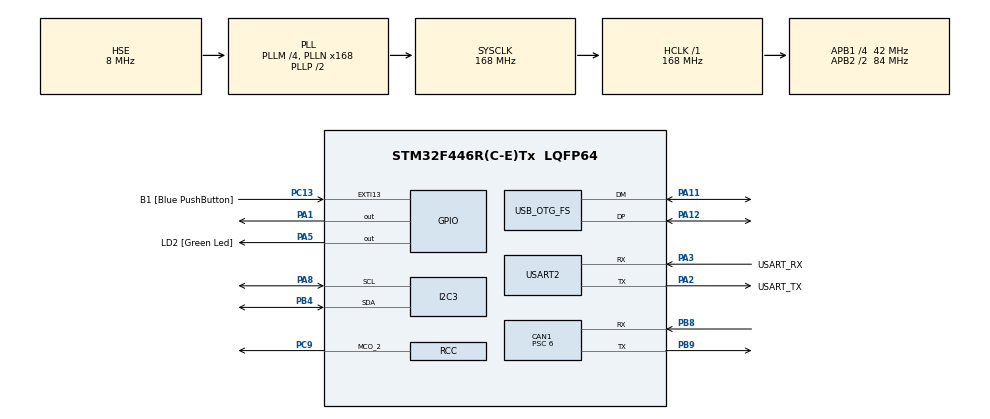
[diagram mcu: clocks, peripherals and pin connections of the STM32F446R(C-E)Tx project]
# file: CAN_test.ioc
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CAN1.BS1=CAN_BS1_11TQ
CAN1.BS2=CAN_BS2_2TQ
CAN1.CalculateBaudRate=500000
CAN1.CalculateTimeBit=2000
CAN1.CalculateTimeQuantum=142.85714285714286
CAN1.Prescaler=6
Dma.I2C3_RX.0.Direction=DMA_PERIPH_TO_MEMORY
Dma.I2C3_RX.0.FIFOMode=DMA_FIFOMODE_DISABLE
Dma.I2C3_RX.0.Instance=DMA1_Stream2
Dma.I2C3_RX.0.MemDataAlignment=DMA_MDATAALIGN_BYTE
Dma.I2C3_RX.0.MemInc=DMA_MINC_ENABLE
Dma.I2C3_RX.0.Mode=DMA_NORMAL
Dma.I2C3_RX.0.PeriphDataAlignment=DMA_PDATAALIGN_BYTE
Dma.I2C3_RX.0.PeriphInc=DMA_PINC_DISABLE
Dma.I2C3_RX.0.Priority=DMA_PRIORITY_HIGH
Dma.Request0=I2C3_RX
I2C3.I2C_Mode=I2C_Fast
Mcu.Family=STM32F4
Mcu.Name=STM32F446R(C-E)Tx
Mcu.Package=LQFP64
NVIC.DMA1_Stream2_IRQn=true\:0\:5\:true\:false\:true\:false\:true\:true
NVIC.I2C3_ER_IRQn=true\:0\:5\:false\:false\:true\:true\:true\:true
NVIC.I2C3_EV_IRQn=true\:0\:5\:true\:false\:true\:true\:true\:true
NVIC.PriorityGroup=NVIC_PRIORITYGROUP_0
NVIC.TIM1_UP_TIM10_IRQn=true\:0\:0\:false\:false\:true\:true\:true\:true
PA1.Signal=GPIO_Output
PA11.Mode=Device_Only
PA11.Signal=USB_OTG_FS_DM
PA12.Mode=Device_Only
PA12.Signal=USB_OTG_FS_DP
PA13.GPIO_Label=TMS
PA13.Mode=Trace_Asynchronous_SW
PA13.Signal=SYS_JTMS-SWDIO
PA14.GPIO_Label=TCK
PA14.Mode=Trace_Asynchronous_SW
PA14.Signal=SYS_JTCK-SWCLK
PA2.GPIO_Label=USART_TX
PA2.Mode=Asynchronous
PA2.Signal=USART2_TX
PA3.GPIO_Label=USART_RX
PA3.Mode=Asynchronous
PA3.Signal=USART2_RX
PA5.GPIO_Label=LD2 [Green Led]
PA5.Signal=GPIO_Output
PA8.Mode=I2C
PA8.Signal=I2C3_SCL
PB3.GPIO_Label=SWO
PB3.Mode=Trace_Asynchronous_SW
PB3.Signal=SYS_JTDO-SWO
PB4.Mode=I2C
PB4.Signal=I2C3_SDA
PB8.Mode=CAN_Activate
PB8.Signal=CAN1_RX
PB9.Mode=CAN_Activate
PB9.Signal=CAN1_TX
PC13.GPIO_Label=B1 [Blue PushButton]
PC13.GPIO_ModeDefaultEXTI=GPIO_MODE_IT_FALLING
PC13.Signal=GPXTI13
PC14-OSC32_IN.Mode=LSE-External-Oscillator
PC14-OSC32_IN.Signal=RCC_OSC32_IN
PC15-OSC32_OUT.Mode=LSE-External-Oscillator
PC15-OSC32_OUT.Signal=RCC_OSC32_OUT
PC9.Mode=Clock-out-2
PC9.Signal=RCC_MCO_2
PH0-OSC_IN.Mode=HSE-External-Oscillator
PH0-OSC_IN.Signal=RCC_OSC_IN
PH1-OSC_OUT.Mode=HSE-External-Oscillator
PH1-OSC_OUT.Signal=RCC_OSC_OUT
ProjectManager.HeapSize=0x200
ProjectManager.StackSize=0x400
ProjectManager.TargetToolchain=STM32CubeIDE
RCC.48MHZClocksFreq_Value=84000000
RCC.AHBFreq_Value=168000000
RCC.APB1CLKDivider=RCC_HCLK_DIV4
RCC.APB1Freq_Value=42000000
RCC.APB1TimFreq_Value=84000000
RCC.APB2CLKDivider=RCC_HCLK_DIV2
RCC.APB2Freq_Value=84000000
RCC.APB2TimFreq_Value=168000000
RCC.CortexFreq_Value=168000000
RCC.FLatency-AdvancedSettings=FLASH_LATENCY_5
RCC.HCLKFreq_Value=168000000
RCC.HSE_VALUE=8000000
RCC.HSI_VALUE=16000000
RCC.PLLM=4
RCC.PLLN=168
RCC.PLLQ=7
RCC.PLLSourceVirtual=RCC_PLLSOURCE_HSE
RCC.RCC_MCO2Source=RCC_MCO2SOURCE_HSE
RCC.SYSCLKFreq_VALUE=168000000
RCC.SYSCLKSource=RCC_SYSCLKSOURCE_PLLCLK
RCC.USBFreq_Value=48000000
RCC.VCOOutputFreq_Value=336000000
TIM10.Period=1000-1
TIM10.Prescaler=168-1
TIM11.Prescaler=16800-1
USART2.VirtualMode=VM_ASYNC
USB_OTG_FS.VirtualMode=Device_Only
VP_TIM10_VS_ClockSourceINT.Mode=Enable_Timer
VP_TIM11_VS_ClockSourceINT.Mode=Enable_Timer
board=NUCLEO-F446RE

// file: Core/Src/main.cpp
/* USER CODE BEGIN Header */
/**
  ******************************************************************************
  * @file           : main.c
  * @brief          : Main program body
  ******************************************************************************
  * @attention
  *
  * Copyright (c) 2026 STMicroelectronics.
  * All rights reserved.
  *
  * This software is licensed under terms that can be found in the LICENSE file
  * in the root directory of this software component.
  * If no LICENSE file comes with this software, it is provided AS-IS.
  *
  ******************************************************************************
  */
/* USER CODE END Header */
#include "main.h"

/* USER CODE BEGIN Includes */

#include <stdio.h> // For printf

#include <math.h> // For sin/cos

#include "ODrive/ODriveCAN.h" // ODrive library

#include "ODrive_CubeIDE_glue.h" // Our new glue code

#include "ICM20602.h"

#include <string.h>

/* USER CODE END Includes */

/* USER CODE BEGIN PTD */

struct ODriveUserData {

Heartbeat_msg_t last_heartbeat;

bool received_heartbeat = false;

Get_Encoder_Estimates_msg_t last_feedback;

bool received_feedback = false;

};

/* USER CODE END PTD */

/* USER CODE BEGIN PD */

#define ODRV0_NODE_ID 0

#define TWO_PI (6.283185307179586f)

/* USER CODE END PD */

CAN_HandleTypeDef hcan1;

I2C_HandleTypeDef hi2c3;
DMA_HandleTypeDef hdma_i2c3_rx;

PCD_HandleTypeDef hpcd_USB_OTG_FS;

/* USER CODE BEGIN PV */
//-------------------------------------------ICM---------------------------------
extern volatile uint8_t  dma_in_progress;

CompFilter filter;
//recieve_msg recieved_msg;
//Mahony_t myIMU;
float motor_position = 0;
float error_position = 0;
int8_t reference_angle = 0;
volatile uint8_t dma_done = 0;
volatile uint8_t imu_request = 0;
static uint8_t send_pos = 0;
extern volatile uint8_t i2c_need_recovery;
uint8_t static position_enable = 1;
uint8_t running = 0;
uint32_t value = 0;
uint8_t send_data = 0;
extern volatile float gyro_y;
extern volatile float deg_XZ;

float test_angle_gyro = 0;

extern volatile uint8_t  dma_in_progress;
extern volatile uint8_t i2c_need_recovery;

volatile float Kp = 0.0f;  //0.00005f Tah k horizontu (Začněte od nuly a ladit!)
volatile float Ki = 0.0f;  // Vyrovnání trvalé chyby
volatile float Kd = 0.0f; //0.0001 Tlumení vibrací (Začněte ladit tímto!)

float integral_error = 0.0f;
float max_torque = 0.3f;   // Limit momentu v Nm
float required_torque;
float target_angle = 0.0f;
static float torque_filtered = 0;
static float smoothed_velocity = 0.0f;

Get_Encoder_Estimates_msg_t feedback;
//-------------------------------------------ICM---------------------------------

CubeCANInterface can_intf = {&hcan1}; // Our glue struct holding the HAL handle

ODriveCanIntfWrapper can_wrapper = wrap_can_intf(can_intf); // The ODrive wrapper

ODriveCAN odrv0(can_wrapper, ODRV0_NODE_ID); // The main ODrive object

// --- User Data ---

ODriveUserData odrv0_user_data;

/* USER CODE END PV */

#ifdef __cplusplus
extern "C" {
#endif
void SystemClock_Config(void);
#ifdef __cplusplus
}
#endif
static void MX_GPIO_Init(void);
static void MX_DMA_Init(void);
static void MX_USART2_UART_Init(void);
static void MX_USB_OTG_FS_PCD_Init(void);
static void MX_TIM10_Init(void);
static void MX_I2C3_Init(void);
static void MX_TIM11_Init(void);
static void MX_CAN1_Init(void);
/* USER CODE BEGIN PFP */

void onHeartbeat(Heartbeat_msg_t& msg, void* user_data) {

ODriveUserData* odrv_user_data = static_cast<ODriveUserData*>(user_data);

odrv_user_data->last_heartbeat = msg;

odrv_user_data->received_heartbeat = true;

}

// Called every time a feedback message arrives

void onFeedback(Get_Encoder_Estimates_msg_t& msg, void* user_data) {

ODriveUserData* odrv_user_data = static_cast<ODriveUserData*>(user_data);

odrv_user_data->last_feedback = msg;

odrv_user_data->received_feedback = true;

}

/* USER CODE END PFP */

int main(void)
{

  /* MCU Configuration--------------------------------------------------------*/

  /* Reset of all peripherals, Initializes the Flash interface and the Systick. */
  HAL_Init();

  /* Configure the system clock */
  SystemClock_Config();

  /* Initialize all configured peripherals */
  MX_GPIO_Init();
  MX_DMA_Init();
  MX_USART2_UART_Init();
  MX_USB_OTG_FS_PCD_Init();
  MX_TIM10_Init();
  MX_I2C3_Init();
  MX_TIM11_Init();
  MX_CAN1_Init();
  /* USER CODE BEGIN 2 */

  ICM20602_Init();
  CF_Init(&filter, 0);

//printf("Starting ODriveCAN (SWV) for Nucleo-F446RE...\r\n");

//printf("SYSCLK: %ld Hz, APB1: %ld Hz\r\n", HAL_RCC_GetSysClockFreq(), HAL_RCC_GetPCLK1Freq());

odrv0.onFeedback(onFeedback, &odrv0_user_data);

odrv0.onStatus(onHeartbeat, &odrv0_user_data);

// --- Configure CAN Filter ---

// This is CRITICAL for receiving any messages

CAN_FilterTypeDef sFilterConfig;

sFilterConfig.FilterBank = 0;

sFilterConfig.FilterMode = CAN_FILTERMODE_IDMASK;

sFilterConfig.FilterScale = CAN_FILTERSCALE_32BIT;

sFilterConfig.FilterIdHigh = 0x0000;

sFilterConfig.FilterIdLow = 0x0000;

sFilterConfig.FilterMaskIdHigh = 0x0000;

sFilterConfig.FilterMaskIdLow = 0x0000; // Accept all messages

sFilterConfig.FilterFIFOAssignment = CAN_RX_FIFO0;

sFilterConfig.FilterActivation = ENABLE;

if (HAL_CAN_ConfigFilter(&hcan1, &sFilterConfig) != HAL_OK) {

//printf("Error: CAN Filter Config Failed\r\n");

Error_Handler();

}

// --- Start CAN Peripheral ---

if (HAL_CAN_Start(&hcan1) != HAL_OK) {

//printf("Error: HAL_CAN_Start Failed\r\n");

Error_Handler();

}
/*

// --- Wait for ODrive ---

//printf("Waiting for ODrive...\r\n");

while (!odrv0_user_data.received_heartbeat) {

pumpEvents(can_intf); // Check for messages

HAL_Delay(100); // Wait 100ms

}

//printf("Found ODrive!\r\n");

// --- Request Bus Voltage ---

//printf("Attempting to read bus voltage and current...\r\n");

 *
Get_Bus_Voltage_Current_msg_t vbus;

if (!odrv0.request(vbus, 1000)) {

//printf("VBus request failed!\r\n");

Error_Handler();

}

odrv0.setControllerMode(3, 1);

// --- Set Closed Loop Control ---

//printf("Enabling closed loop control...\r\n");

while (odrv0_user_data.last_heartbeat.Axis_State != ODriveAxisState::AXIS_STATE_CLOSED_LOOP_CONTROL) {

odrv0.clearErrors();

HAL_Delay(1);

odrv0.setState(ODriveAxisState::AXIS_STATE_CLOSED_LOOP_CONTROL);

// Wait 150ms for state to take effect

for (int i = 0; i < 15; ++i) {

HAL_Delay(10);

pumpEvents(can_intf); // Keep checking for heartbeats

}

}
 */

//printf("ODrive running!\r\n");

  LL_TIM_SetCounter(TIM10, 0);
  LL_TIM_EnableIT_UPDATE(TIM10);
  LL_TIM_EnableCounter(TIM10);

  LL_TIM_SetCounter(TIM11, 0);
  LL_TIM_EnableCounter(TIM11);

  Read_data();

  /* USER CODE END 2 */

  /* Infinite loop */
while (1)
{

    /* USER CODE BEGIN 3 */

	        // 4. Kontrola, zda se I2C neseklo (vaše funkce)
	        I2C_WatchdogCheck();

			pumpEvents(can_intf);

	/*

float SINE_PERIOD = 2.0f; // Period in seconds

float t = 0.001f * HAL_GetTick(); // Time in seconds

float phase = t * (TWO_PI / SINE_PERIOD);

// Send the position command

odrv0.setPosition(

sin(phase), // position (in turns)

cos(phase) * (TWO_PI / SINE_PERIOD), // velocity feedforward (in turns/sec)

0);
	 */

}

  /* USER CODE END 3 */
}

void SystemClock_Config(void)
{
  RCC_OscInitTypeDef RCC_OscInitStruct = {0};
  RCC_ClkInitTypeDef RCC_ClkInitStruct = {0};

  /** Configure the main internal regulator output voltage
  */
  __HAL_RCC_PWR_CLK_ENABLE();
  __HAL_PWR_VOLTAGESCALING_CONFIG(PWR_REGULATOR_VOLTAGE_SCALE1);

  /** Initializes the RCC Oscillators according to the specified parameters
  * in the RCC_OscInitTypeDef structure.
  */
  RCC_OscInitStruct.OscillatorType = RCC_OSCILLATORTYPE_HSE;
  RCC_OscInitStruct.HSEState = RCC_HSE_ON;
  RCC_OscInitStruct.PLL.PLLState = RCC_PLL_ON;
  RCC_OscInitStruct.PLL.PLLSource = RCC_PLLSOURCE_HSE;
  RCC_OscInitStruct.PLL.PLLM = 4;
  RCC_OscInitStruct.PLL.PLLN = 168;
  RCC_OscInitStruct.PLL.PLLP = RCC_PLLP_DIV2;
  RCC_OscInitStruct.PLL.PLLQ = 7;
  RCC_OscInitStruct.PLL.PLLR = 2;
  if (HAL_RCC_OscConfig(&RCC_OscInitStruct) != HAL_OK)
  {
    Error_Handler();
  }

  /** Initializes the CPU, AHB and APB buses clocks
  */
  RCC_ClkInitStruct.ClockType = RCC_CLOCKTYPE_HCLK|RCC_CLOCKTYPE_SYSCLK
                              |RCC_CLOCKTYPE_PCLK1|RCC_CLOCKTYPE_PCLK2;
  RCC_ClkInitStruct.SYSCLKSource = RCC_SYSCLKSOURCE_PLLCLK;
  RCC_ClkInitStruct.AHBCLKDivider = RCC_SYSCLK_DIV1;
  RCC_ClkInitStruct.APB1CLKDivider = RCC_HCLK_DIV4;
  RCC_ClkInitStruct.APB2CLKDivider = RCC_HCLK_DIV2;

  if (HAL_RCC_ClockConfig(&RCC_ClkInitStruct, FLASH_LATENCY_5) != HAL_OK)
  {
    Error_Handler();
  }
  HAL_RCC_MCOConfig(RCC_MCO2, RCC_MCO2SOURCE_HSE, RCC_MCODIV_1);
}

static void MX_CAN1_Init(void)
{

  hcan1.Instance = CAN1;
  hcan1.Init.Prescaler = 6;
  hcan1.Init.Mode = CAN_MODE_NORMAL;
  hcan1.Init.SyncJumpWidth = CAN_SJW_1TQ;
  hcan1.Init.TimeSeg1 = CAN_BS1_11TQ;
  hcan1.Init.TimeSeg2 = CAN_BS2_2TQ;
  hcan1.Init.TimeTriggeredMode = DISABLE;
  hcan1.Init.AutoBusOff = DISABLE;
  hcan1.Init.AutoWakeUp = DISABLE;
  hcan1.Init.AutoRetransmission = DISABLE;
  hcan1.Init.ReceiveFifoLocked = DISABLE;
  hcan1.Init.TransmitFifoPriority = DISABLE;
  if (HAL_CAN_Init(&hcan1) != HAL_OK)
  {
    Error_Handler();
  }

}

static void MX_I2C3_Init(void)
{

  hi2c3.Instance = I2C3;
  hi2c3.Init.ClockSpeed = 400000;
  hi2c3.Init.DutyCycle = I2C_DUTYCYCLE_2;
  hi2c3.Init.OwnAddress1 = 0;
  hi2c3.Init.AddressingMode = I2C_ADDRESSINGMODE_7BIT;
  hi2c3.Init.DualAddressMode = I2C_DUALADDRESS_DISABLE;
  hi2c3.Init.OwnAddress2 = 0;
  hi2c3.Init.GeneralCallMode = I2C_GENERALCALL_DISABLE;
  hi2c3.Init.NoStretchMode = I2C_NOSTRETCH_DISABLE;
  if (HAL_I2C_Init(&hi2c3) != HAL_OK)
  {
    Error_Handler();
  }

}

static void MX_TIM10_Init(void)
{

  LL_TIM_InitTypeDef TIM_InitStruct = {0};

  /* Peripheral clock enable */
  LL_APB2_GRP1_EnableClock(LL_APB2_GRP1_PERIPH_TIM10);

  /* TIM10 interrupt Init */
  NVIC_SetPriority(TIM1_UP_TIM10_IRQn, NVIC_EncodePriority(NVIC_GetPriorityGrouping(),0, 0));
  NVIC_EnableIRQ(TIM1_UP_TIM10_IRQn);

  TIM_InitStruct.Prescaler = 167;
  TIM_InitStruct.CounterMode = LL_TIM_COUNTERMODE_UP;
  TIM_InitStruct.Autoreload = 1000-LL_TIM_IC_FILTER_FDIV1_N2;
  TIM_InitStruct.ClockDivision = LL_TIM_CLOCKDIVISION_DIV1;
  LL_TIM_Init(TIM10, &TIM_InitStruct);
  LL_TIM_DisableARRPreload(TIM10);

}

static void MX_TIM11_Init(void)
{

  LL_TIM_InitTypeDef TIM_InitStruct = {0};

  /* Peripheral clock enable */
  LL_APB2_GRP1_EnableClock(LL_APB2_GRP1_PERIPH_TIM11);

  TIM_InitStruct.Prescaler = 16799;
  TIM_InitStruct.CounterMode = LL_TIM_COUNTERMODE_UP;
  TIM_InitStruct.Autoreload = 65535;
  TIM_InitStruct.ClockDivision = LL_TIM_CLOCKDIVISION_DIV1;
  LL_TIM_Init(TIM11, &TIM_InitStruct);
  LL_TIM_DisableARRPreload(TIM11);

}

static void MX_USART2_UART_Init(void)
{

  LL_USART_InitTypeDef USART_InitStruct = {0};

  LL_GPIO_InitTypeDef GPIO_InitStruct = {0};

  /* Peripheral clock enable */
  LL_APB1_GRP1_EnableClock(LL_APB1_GRP1_PERIPH_USART2);

  LL_AHB1_GRP1_EnableClock(LL_AHB1_GRP1_PERIPH_GPIOA);
  /**USART2 GPIO Configuration
  PA2   ------> USART2_TX
  PA3   ------> USART2_RX
  */
  GPIO_InitStruct.Pin = LL_GPIO_PIN_2|LL_GPIO_PIN_3;
  GPIO_InitStruct.Mode = LL_GPIO_MODE_ALTERNATE;
  GPIO_InitStruct.Speed = LL_GPIO_SPEED_FREQ_VERY_HIGH;
  GPIO_InitStruct.OutputType = LL_GPIO_OUTPUT_PUSHPULL;
  GPIO_InitStruct.Pull = LL_GPIO_PULL_NO;
  GPIO_InitStruct.Alternate = LL_GPIO_AF_7;
  LL_GPIO_Init(GPIOA, &GPIO_InitStruct);

  USART_InitStruct.BaudRate = 115200;
  USART_InitStruct.DataWidth = LL_USART_DATAWIDTH_8B;
  USART_InitStruct.StopBits = LL_USART_STOPBITS_1;
  USART_InitStruct.Parity = LL_USART_PARITY_NONE;
  USART_InitStruct.TransferDirection = LL_USART_DIRECTION_TX_RX;
  USART_InitStruct.HardwareFlowControl = LL_USART_HWCONTROL_NONE;
  USART_InitStruct.OverSampling = LL_USART_OVERSAMPLING_16;
  LL_USART_Init(USART2, &USART_InitStruct);
  LL_USART_ConfigAsyncMode(USART2);
  LL_USART_Enable(USART2);

}

static void MX_USB_OTG_FS_PCD_Init(void)
{

  hpcd_USB_OTG_FS.Instance = USB_OTG_FS;
  hpcd_USB_OTG_FS.Init.dev_endpoints = 6;
  hpcd_USB_OTG_FS.Init.speed = PCD_SPEED_FULL;
  hpcd_USB_OTG_FS.Init.dma_enable = DISABLE;
  hpcd_USB_OTG_FS.Init.phy_itface = PCD_PHY_EMBEDDED;
  hpcd_USB_OTG_FS.Init.Sof_enable = DISABLE;
  hpcd_USB_OTG_FS.Init.low_power_enable = DISABLE;
  hpcd_USB_OTG_FS.Init.lpm_enable = DISABLE;
  hpcd_USB_OTG_FS.Init.vbus_sensing_enable = DISABLE;
  hpcd_USB_OTG_FS.Init.use_dedicated_ep1 = DISABLE;
  if (HAL_PCD_Init(&hpcd_USB_OTG_FS) != HAL_OK)
  {
    Error_Handler();
  }

}

static void MX_DMA_Init(void)
{

  /* DMA controller clock enable */
  __HAL_RCC_DMA1_CLK_ENABLE();

  /* DMA interrupt init */
  /* DMA1_Stream2_IRQn interrupt configuration */
  HAL_NVIC_SetPriority(DMA1_Stream2_IRQn, 0, 5);
  HAL_NVIC_EnableIRQ(DMA1_Stream2_IRQn);

}

static void MX_GPIO_Init(void)
{
  GPIO_InitTypeDef GPIO_InitStruct = {0};

  /* GPIO Ports Clock Enable */
  __HAL_RCC_GPIOC_CLK_ENABLE();
  __HAL_RCC_GPIOH_CLK_ENABLE();
  __HAL_RCC_GPIOA_CLK_ENABLE();
  __HAL_RCC_GPIOB_CLK_ENABLE();

  /*Configure GPIO pin Output Level */
  HAL_GPIO_WritePin(GPIOA, GPIO_PIN_1|LD2_Pin, GPIO_PIN_RESET);

  /*Configure GPIO pin : B1_Pin */
  GPIO_InitStruct.Pin = B1_Pin;
  GPIO_InitStruct.Mode = GPIO_MODE_IT_FALLING;
  GPIO_InitStruct.Pull = GPIO_NOPULL;
  HAL_GPIO_Init(B1_GPIO_Port, &GPIO_InitStruct);

  /*Configure GPIO pins : PA1 LD2_Pin */
  GPIO_InitStruct.Pin = GPIO_PIN_1|LD2_Pin;
  GPIO_InitStruct.Mode = GPIO_MODE_OUTPUT_PP;
  GPIO_InitStruct.Pull = GPIO_NOPULL;
  GPIO_InitStruct.Speed = GPIO_SPEED_FREQ_LOW;
  HAL_GPIO_Init(GPIOA, &GPIO_InitStruct);

  /*Configure GPIO pin : PC9 */
  GPIO_InitStruct.Pin = GPIO_PIN_9;
  GPIO_InitStruct.Mode = GPIO_MODE_AF_PP;
  GPIO_InitStruct.Pull = GPIO_NOPULL;
  GPIO_InitStruct.Speed = GPIO_SPEED_FREQ_LOW;
  GPIO_InitStruct.Alternate = GPIO_AF0_MCO;
  HAL_GPIO_Init(GPIOC, &GPIO_InitStruct);

}

/* USER CODE BEGIN 4 */
#ifdef __cplusplus
extern "C" {
#endif

int __io_putchar(int ch) {
    // Wait until TXE flag is set (Transmit Data Register Empty)
    while (!LL_USART_IsActiveFlag_TXE(USART2));

    // Transmit character
    LL_USART_TransmitData8(USART2, (uint8_t)ch);

    return ch;
}

int _write(int file, char *ptr, int len) {
    for (int i = 0; i < len; i++)
    {
        while (!LL_USART_IsActiveFlag_TXE(USART2));
        LL_USART_TransmitData8(USART2, (uint8_t)ptr[i]);
    }

    // Optional: wait for TC (Transmission Complete)
    while (!LL_USART_IsActiveFlag_TC(USART2));

    return len;
}

void Timer_callback()
{
	HAL_GPIO_WritePin(GPIOA, GPIO_PIN_1, GPIO_PIN_SET);

	/*
	 *
	while (HAL_CAN_GetRxFifoFillLevel(&hcan1, CAN_RX_FIFO0) > 0) {
		pumpEvents(can_intf);
	}
	 */

	if (dma_done == 1) {

		//test_angle_gyro += gyro_y * 0.001;

		static uint16_t previous_tick = 0;
		uint16_t current_tick = LL_TIM_GetCounter(TIM11);
		uint16_t dt_tick = current_tick - previous_tick;
		float dt_float = (float)dt_tick * 0.0001f;
		previous_tick = current_tick;

		CF_Update(&filter, gyro_y, deg_XZ, dt_float);

		//feedback = odrv0_user_data.last_feedback;

		float current_angle_turns = filter.angle / 360.0f;

		// 2. Výpočet cílové pozice motoru (stejné jako předtím)
		//motor_position = feedback.Pos_Estimate - ((-reference_angle/360.0f) - current_angle_turns);

		//Pro PCB
		//motor_position = feedback.Pos_Estimate + ((-reference_angle/360.0f) - current_angle_turns);

		static float prev_imu_turns = 0.0f;
		float raw_velocity = (current_angle_turns - prev_imu_turns) / dt_float;
		prev_imu_turns = current_angle_turns;

		// 3. Silný Low-Pass filtr pro vyhlazení rychlosti
		// Hodnota 0.1 znamená, že bereme 90% staré rychlosti a 10% nové.
		// Pokud motor stále vibruje, zmenši číslo (např. na 0.05 nebo 0.02).
		float alpha_vel = 0.0002f;
		smoothed_velocity = (smoothed_velocity * (1.0f - alpha_vel)) + (raw_velocity * alpha_vel);

		//motor_position = feedback.Pos_Estimate - ((-reference_angle/360.0f)-(filter.angle/360.0f));
		if (motor_position >= -0.25 && motor_position <=0.25) {
			//odrv0.setPosition(motor_position, smoothed_velocity, 0.0);

			//odrv0.setPosition(motor_position, 0.0, 0.0);
		}

		/*
		printf("%.3f,%.3f\r\n",
		               filter.angle,
		               feedback.Pos_Estimate);
		 */

/*
		// Získání absolutního úhlu kamery z filtru
		float current_camera_angle = filter.angle;

		// Výpočet chyby
		//float error = target_angle - current_camera_angle;
		float error = current_camera_angle - target_angle;

		// Integrační složka (Anti-Windup)
		integral_error += error * 0.001f;
		if (integral_error > 2.0f) integral_error = 2.0f;
		if (integral_error < -2.0f) integral_error = -2.0f;

		// Derivační složka = Surová filtrovaná rychlost přímo z Gyroskopu
		static float filtered_gyro = 0.0f;
		float alpha = 0.1f; // Hodnota 0.01 až 1.0. Čím menší, tím hladší (ale pomalejší)
		filtered_gyro = (filtered_gyro * (1.0f - alpha)) + (gyro_y * alpha);

		float camera_angular_velocity = filtered_gyro;

		// VÝPOČET MOMENTU PRO MOTOR (Torque v Nm)
		required_torque = (Kp * error) + (Ki * integral_error) - (Kd * camera_angular_velocity);
		//required_torque = (Kp * error) + (Ki * integral_error) + (Kd * camera_angular_velocity);

 //--------------------------------------------------------------------------
		float test_frequency = 5.0f; // Frekvence 5 Hz
		float test_amplitude = 0.1f; // Bezpečná amplituda 0.2 Nm

		// Získání času v sekundách z HAL_GetTick()
		float time_sec = HAL_GetTick() * 0.001f;

		// Výpočet sinusového momentu
		required_torque = test_amplitude * sin(TWO_PI * test_frequency * time_sec);
 //--------------------------------------------------------------------------

		// Ořezání na bezpečnostní limity
		if (required_torque > max_torque) required_torque = max_torque;
		if (required_torque < -max_torque) required_torque = -max_torque;

		// ---------------------------------------------------------
		// 3. ODESLÁNÍ DO ODRIVE (BEZ BLOKOVÁNÍ)
		// ---------------------------------------------------------

		if (feedback.Pos_Estimate >= -0.25 && feedback.Pos_Estimate <=0.25) {
			torque_filtered = 0.9f * torque_filtered + 0.1f * required_torque;
			odrv0.setTorque(torque_filtered);

			//odrv0.setTorque(required_torque);
		} else {
			odrv0.setTorque(0.0f);
		}
 */

		dma_done = 0;

		Read_data();
	}

	HAL_GPIO_WritePin(GPIOA, GPIO_PIN_1, GPIO_PIN_RESET);
}
#ifdef __cplusplus
}
#endif

/* USER CODE END 4 */

void Error_Handler(void)
{
	__disable_irq();
	while (1)
	{
	}
}
